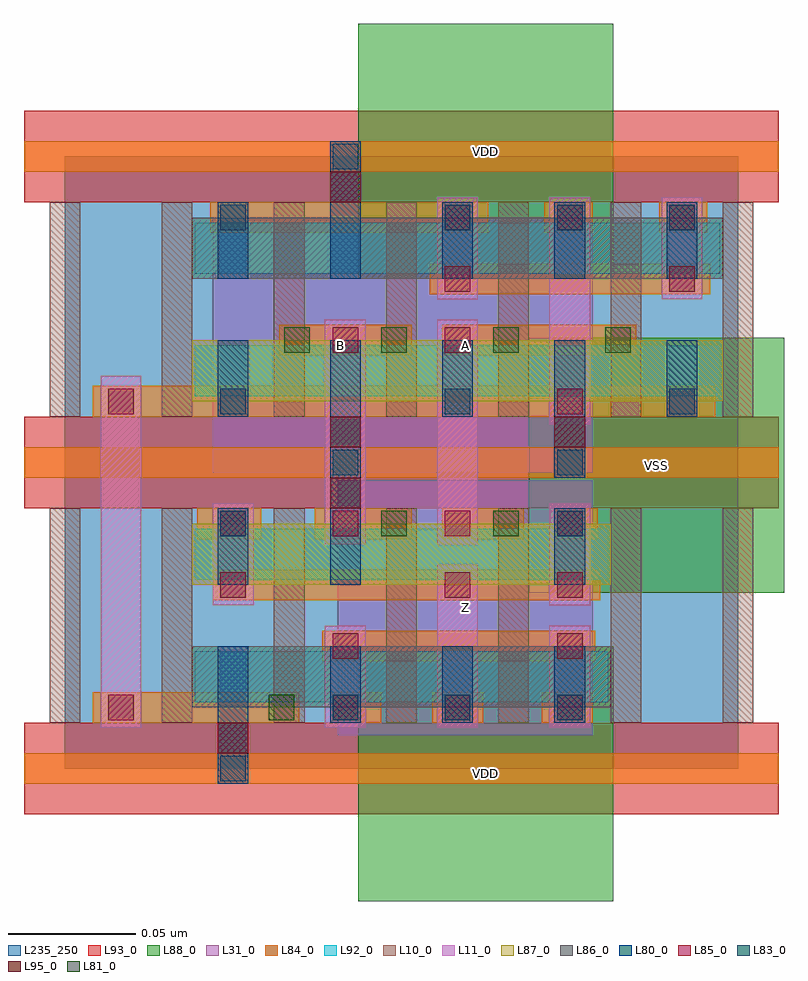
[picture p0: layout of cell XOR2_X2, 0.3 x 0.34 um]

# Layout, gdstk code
import gdstk
lib = gdstk.Library(unit=1e-6, precision=1e-09)
def R(c, l, rs):  # rectangles x0, y0, x1, y1
    for r in rs: c.add(gdstk.rectangle(r[:2], r[2:], *l))
def A(c, l, x, y, w, h, nx, ny, dx, dy):  # array of equal rectangles
    R(c, l, [(x+i*dx, y+j*dy, x+i*dx+w, y+j*dy+h) for i in range(nx) for j in range(ny)])
L10_0 = (10, 0)
L11_0 = (11, 0)
L31_0 = (31, 0)
L80_0 = (80, 0)
L81_0 = (81, 0)
L83_0 = (83, 0)
L84_0 = (84, 0)
L85_0 = (85, 0)
L86_0 = (86, 0)
L87_0 = (87, 0)
L88_0 = (88, 0)
L92_0 = (92, 0)
L93_0 = (93, 0)
L95_0 = (95, 0)
L235_250 = (235, 250)

xor2_x2 = lib.new_cell('XOR2_X2')
A(xor2_x2, L10_0, -0.006, 0.018, 0.012, 0.084, 7, 2, 0.044, 0.12)
R(xor2_x2, L11_0, [(0.014,0.016,0.03,0.154), (0.102,0.016,0.118,0.056), (0.146,0.016,0.162,0.08), (0.19,0.016,0.206,0.056), (0.058,0.064,0.074,0.104), (0.19,0.064,0.206,0.104), (0.102,0.088,0.118,0.176), (0.146,0.088,0.162,0.176), (0.19,0.135,0.206,0.224), (0.146,0.184,0.162,0.224), (0.234,0.184,0.25,0.224)])
R(xor2_x2, L31_0, [(0.107,0.013,0.207,0.113), (0.058,0.116,0.158,0.216), (0.107,0.116,0.207,0.216)])
A(xor2_x2, L80_0, 0.104, 0.018, 0.012, 0.03, 3, 1, 0.044, 0)
A(xor2_x2, L80_0, 0.06, 0.138, 0.012, 0.03, 3, 1, 0.088, 0)
A(xor2_x2, L80_0, 0.148, 0.192, 0.012, 0.03, 3, 1, 0.044, 0)
R(xor2_x2, L80_0, [(0.06,-0.006,0.072,0.048), (0.06,0.072,0.072,0.102), (0.104,0.072,0.116,0.168), (0.192,0.072,0.204,0.102), (0.192,0.114,0.204,0.168), (0.06,0.192,0.072,0.222), (0.104,0.192,0.116,0.246)])
A(xor2_x2, L81_0, 0.124, 0.163, 0.01, 0.01, 3, 1, 0.044, 0)
R(xor2_x2, L81_0, [(0.08,0.019,0.09,0.029), (0.124,0.091,0.134,0.101), (0.168,0.091,0.178,0.101), (0.086,0.163,0.096,0.173)])
A(xor2_x2, L83_0, 0.105, 0.019, 0.01, 0.01, 3, 1, 0.044, 0)
A(xor2_x2, L83_0, 0.061, 0.139, 0.01, 0.01, 3, 1, 0.088, 0)
A(xor2_x2, L83_0, 0.149, 0.211, 0.01, 0.01, 3, 1, 0.044, 0)
R(xor2_x2, L83_0, [(0.061,-0.005,0.071,0.005), (0.061,0.091,0.071,0.101), (0.193,0.091,0.203,0.101), (0.105,0.115,0.115,0.125), (0.193,0.115,0.203,0.125), (0.061,0.211,0.071,0.221), (0.105,0.235,0.115,0.245)])
A(xor2_x2, L84_0, -0.016, -0.006, 0.296, 0.012, 1, 3, 0, 0.12)
R(xor2_x2, L84_0, [(0.011,0.018,0.092,0.03), (0.104,0.018,0.124,0.03), (0.144,0.018,0.164,0.03), (0.187,0.018,0.207,0.03), (0.101,0.042,0.208,0.054), (0.058,0.066,0.21,0.078), (0.052,0.09,0.077,0.102), (0.098,0.09,0.136,0.102), (0.148,0.09,0.18,0.102), (0.192,0.09,0.209,0.102), (0.011,0.138,0.255,0.15), (0.084,0.162,0.136,0.174), (0.148,0.162,0.224,0.174), (0.143,0.186,0.253,0.198), (0.057,0.21,0.166,0.222), (0.188,0.21,0.207,0.222), (0.233,0.21,0.252,0.222)])
A(xor2_x2, L85_0, 0.105, 0.019, 0.01, 0.01, 3, 1, 0.044, 0)
A(xor2_x2, L85_0, 0.061, 0.091, 0.01, 0.01, 4, 1, 0.044, 0)
A(xor2_x2, L85_0, 0.149, 0.211, 0.01, 0.01, 3, 1, 0.044, 0)
R(xor2_x2, L85_0, [(0.017,0.019,0.027,0.029), (0.105,0.043,0.115,0.053), (0.193,0.043,0.203,0.053), (0.061,0.067,0.071,0.077), (0.149,0.067,0.159,0.077), (0.193,0.067,0.203,0.077), (0.017,0.139,0.027,0.149), (0.193,0.139,0.203,0.149), (0.105,0.163,0.115,0.173), (0.149,0.163,0.159,0.173), (0.149,0.187,0.159,0.197), (0.237,0.187,0.247,0.197)])
R(xor2_x2, L86_0, [(0.05,0.024,0.214,0.048), (0.05,0.192,0.258,0.216)])
R(xor2_x2, L87_0, [(0.05,0.072,0.214,0.096), (0.05,0.144,0.258,0.168)])
R(xor2_x2, L88_0, [(0.115,-0.052,0.215,0.048), (0.182,0.069,0.282,0.169), (0.115,0.192,0.215,0.292)])
R(xor2_x2, L92_0, [(0.051,0.026,0.213,0.046), (0.051,0.074,0.213,0.094), (0.051,0.146,0.257,0.166), (0.051,0.194,0.257,0.214)])
A(xor2_x2, L93_0, -0.016, -0.018, 0.296, 0.036, 1, 3, 0, 0.12)
R(xor2_x2, L95_0, [(0.06,0.006,0.072,0.018), (0.104,0.102,0.116,0.114), (0.104,0.126,0.116,0.138), (0.192,0.126,0.204,0.138), (0.104,0.222,0.116,0.234)])
R(xor2_x2, L235_250, [(0,0,0.264,0.24)])
xor2_x2.add(gdstk.Label('VDD', (0.165,-0.002), layer=88, texttype=0))
xor2_x2.add(gdstk.Label('VDD', (0.165,0.242), layer=88, texttype=0))
xor2_x2.add(gdstk.Label('VSS', (0.232,0.119), layer=88, texttype=0))
xor2_x2.add(gdstk.Label('Z', (0.157,0.063), layer=31, texttype=0))
xor2_x2.add(gdstk.Label('A', (0.157,0.166), layer=31, texttype=0))
xor2_x2.add(gdstk.Label('B', (0.108,0.166), layer=31, texttype=0))

lib.write_gds('XOR2_X2.gds')
